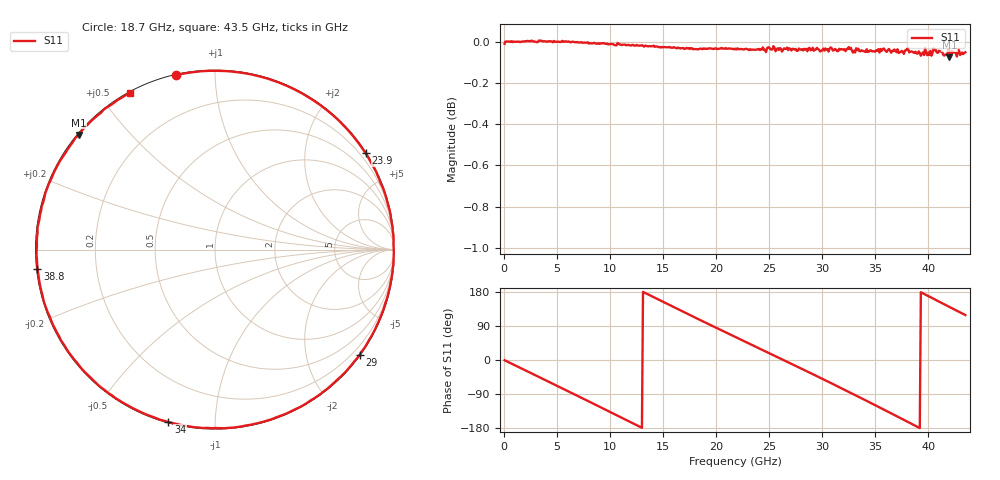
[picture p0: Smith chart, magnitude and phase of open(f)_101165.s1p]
# Hz S RI R 50.000000
! Metas.Vna.Data, 2.4.7734.25685
! Created: UTC 2023.03.21 14:20:05
! FREQ  re:S1,1  im:S1,1
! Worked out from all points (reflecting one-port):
!   436 points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, 50 MHz to 43.5 GHz, reference 50 ohm
!   lowest |S11| = -0.1 dB at 42 GHz (marker M1), VSWR 236.85, Z = 0.239 + j18.2 ohm
!   phase of S11 starts at -1 deg and turns -601 deg over the sweep
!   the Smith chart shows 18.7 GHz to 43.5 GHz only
!   S11 on the Smith chart (normalised r, x): 18.7 GHz: 0.00, +0.80; 23.9 GHz: 0.03, +3.42; 29 GHz: 0.02, -3.08; 34 GHz: 0.00, -0.76; 38.8 GHz: 0.00, -0.05; 43.5 GHz: 0.00, +0.60
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5e7  0.9989 -0.012
2.5e9  0.829 -0.5602
4.1e9  0.5611 -0.828
5.5e9  0.2588 -0.9666
6.8e9  -0.0504 -0.9986
8.1e9  -0.3553 -0.9341
9.5e9  -0.6458 -0.7624
1.1e10  -0.8744 -0.4822
1.23e10  -0.9801 -0.1878
1.36e10  -0.9896 0.1254
1.5e10  -0.8911 0.4473
1.64e10  -0.6927 0.7169
1.87e10  -0.217 0.9721
2.02e10  0.1336 0.9872
2.18e10  0.4873 0.869
2.39e10  0.8393 0.5361
2.56e10  0.9803 0.1694
2.73e10  0.9706 -0.224
2.9e10  0.8058 -0.5849
3.09e10  0.4694 -0.879
3.27e10  0.0528 -0.9954
3.4e10  -0.2603 -0.96
3.58e10  -0.6503 -0.755
3.81e10  -0.9559 -0.28
3.88e10  -0.989 -0.1056
4.04e10  -0.9499 0.2926
4.2e10  -0.759 0.6381
4.35e10  -0.4734 0.8744
